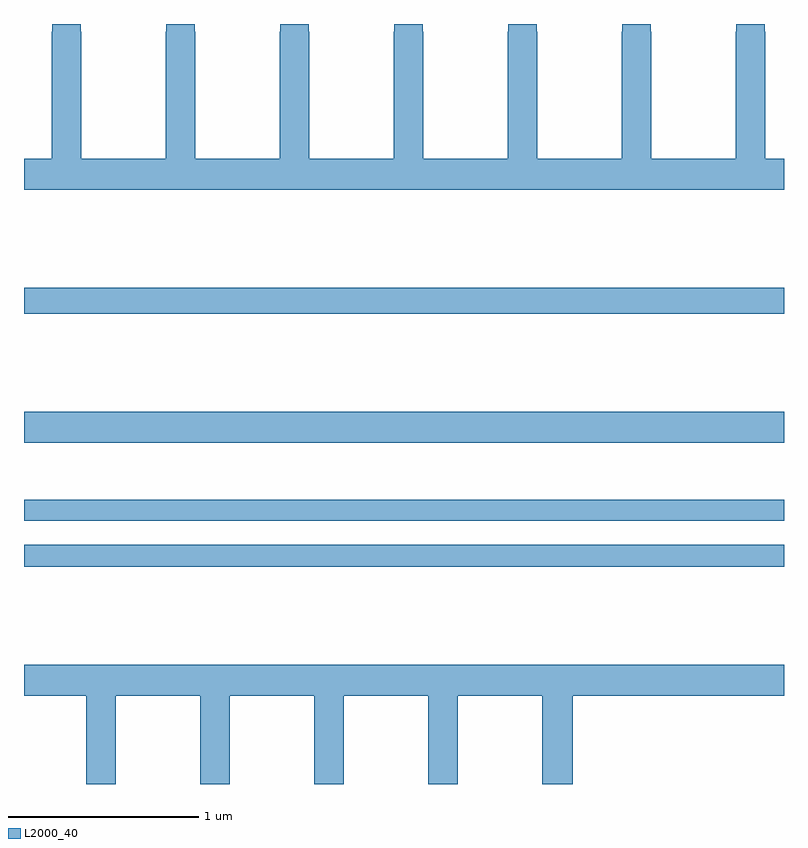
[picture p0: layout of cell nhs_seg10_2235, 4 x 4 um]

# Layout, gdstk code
import gdstk
lib = gdstk.Library(unit=1e-6, precision=1e-09)
def R(c, l, rs):  # rectangles x0, y0, x1, y1
    for r in rs: c.add(gdstk.rectangle(r[:2], r[2:], *l))
def P(c, l, *ps):  # polygons
    for p in ps: c.add(gdstk.Polygon(p, *l))
L2000_40 = (2000, 40)

nhs_seg10_2235 = lib.new_cell('nhs_seg10_2235')
R(nhs_seg10_2235, L2000_40, [(229,1319.644,233,1319.76), (229,1319.886,233,1319.995), (229,1320.296,233,1320.46), (229,1320.976,233,1321.112)])
P(nhs_seg10_2235, L2000_40, [(231.549,1322.5),(231.549,1322.459),(231.547,1322.459),(231.547,1321.792),(231.102,1321.792),(231.102,1322.459),(231.099,1322.459),(231.099,1322.5),(230.949,1322.5),(230.949,1322.459),(230.947,1322.459),(230.947,1321.792),(230.502,1321.792),(230.502,1322.459),(230.499,1322.459),(230.499,1322.5),(230.349,1322.5),(230.349,1322.459),(230.347,1322.459),(230.347,1321.792),(229.902,1321.792),(229.902,1322.459),(229.899,1322.459),(229.899,1322.5),(229.749,1322.5),(229.749,1322.459),(229.747,1322.459),(229.747,1321.792),(229.302,1321.792),(229.302,1322.459),(229.299,1322.459),(229.299,1322.5),(229.149,1322.5),(229.149,1322.459),(229.147,1322.459),(229.147,1321.792),(229,1321.792),(229,1321.628),(233,1321.628),(233,1321.792),(232.902,1321.792),(232.902,1322.459),(232.899,1322.459),(232.899,1322.5),(232.749,1322.5),(232.749,1322.459),(232.747,1322.459),(232.747,1321.792),(232.302,1321.792),(232.302,1322.459),(232.299,1322.459),(232.299,1322.5),(232.149,1322.5),(232.149,1322.459),(232.147,1322.459),(232.147,1321.792),(231.702,1321.792),(231.702,1322.459),(231.699,1322.459),(231.699,1322.5)],
  [(230.082,1318.964),(230.527,1318.964),(230.527,1318.5),(230.682,1318.5),(230.682,1318.964),(231.127,1318.964),(231.127,1318.5),(231.282,1318.5),(231.282,1318.964),(231.727,1318.964),(231.727,1318.5),(231.887,1318.5),(231.887,1318.964),(233,1318.964),(233,1319.128),(229,1319.128),(229,1318.964),(229.327,1318.964),(229.327,1318.5),(229.482,1318.5),(229.482,1318.964),(229.927,1318.964),(229.927,1318.5),(230.082,1318.5)])

lib.write_gds('nhs_seg10_2235.gds')
